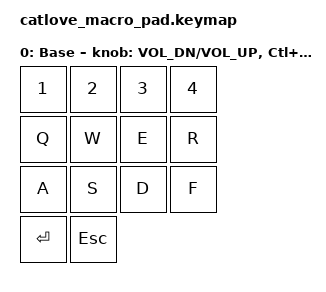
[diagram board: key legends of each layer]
#include <behaviors.dtsi>
#include <dt-bindings/zmk/keys.h>

/ {
    keymap {
        compatible = "zmk,keymap";

        default_layer {
            display-name = "Base";

            bindings = <
                &kp N1  &kp N2  &kp N3  &kp N4
                &kp Q   &kp W   &kp E   &kp R
                &kp A   &kp S   &kp D   &kp F
                &kp ENTER  &kp ESC
            >;

            sensor-bindings = <
                &inc_dec_kp C_VOL_DN C_VOL_UP
                &inc_dec_kp LC(LEFT) LC(RIGHT)
            >;
        };

        layer_1 {
            status = "reserved";
        };

        layer_2 {
            status = "reserved";
        };

        layer_3 {
            status = "reserved";
        };
    };
};
